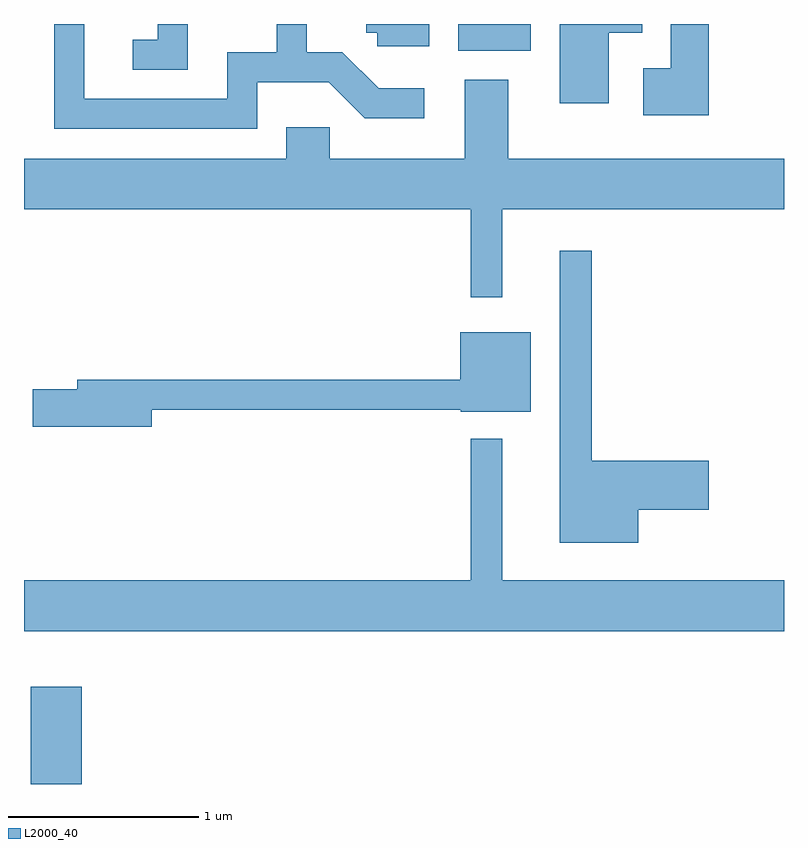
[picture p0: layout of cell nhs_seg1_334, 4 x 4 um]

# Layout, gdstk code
import gdstk
lib = gdstk.Library(unit=1e-6, precision=1e-09)
def R(c, l, rs):  # rectangles x0, y0, x1, y1
    for r in rs: c.add(gdstk.rectangle(r[:2], r[2:], *l))
def P(c, l, *ps):  # polygons
    for p in ps: c.add(gdstk.Polygon(p, *l))
L2000_40 = (2000, 40)

nhs_seg1_334 = lib.new_cell('nhs_seg1_334')
R(nhs_seg1_334, L2000_40, [(195.646,847.712,195.914,848.224), (197.896,851.571,198.279,851.712)])
P(nhs_seg1_334, L2000_40, [(198.689,851.666),(198.864,851.666),(198.864,851.712),(198.431,851.712),(198.431,851.296),(198.689,851.296)],
  [(196.839,851.406),(197.214,851.406),(197.404,851.216),(197.718,851.216),(197.718,851.374),(197.477,851.374),(197.287,851.564),(197.099,851.564),(197.099,851.712),(196.941,851.712),(196.941,851.564),(196.681,851.564),(196.681,851.319),(195.929,851.319),(195.929,851.712),(195.771,851.712),(195.771,851.161),(196.839,851.161)],
  [(196.474,851.712),(196.316,851.712),(196.316,851.629),(196.183,851.629),(196.183,851.471),(196.474,851.471)],
  [(197.744,851.712),(197.411,851.712),(197.411,851.666),(197.471,851.666),(197.471,851.596),(197.744,851.596)],
  [(199.214,851.712),(199.016,851.712),(199.016,851.479),(198.871,851.479),(198.871,851.231),(199.214,851.231)],
  [(198.129,850.736),(199.611,850.736),(199.611,851.004),(198.159,851.004),(198.159,851.419),(197.931,851.419),(197.931,851.004),(197.219,851.004),(197.219,851.169),(196.991,851.169),(196.991,851.004),(195.611,851.004),(195.611,850.736),(197.961,850.736),(197.961,850.273),(198.129,850.273)],
  [(198.844,849.156),(199.214,849.156),(199.214,849.414),(198.599,849.414),(198.599,850.518),(198.431,850.518),(198.431,848.981),(198.844,848.981)],
  [(196.284,849.681),(197.91,849.681),(197.91,849.671),(198.279,849.671),(198.279,850.089),(197.906,850.089),(197.906,849.839),(195.891,849.839),(195.891,849.789),(195.656,849.789),(195.656,849.591),(196.284,849.591)],
  [(199.611,848.784),(198.129,848.784),(198.129,849.528),(197.961,849.528),(197.961,848.784),(195.611,848.784),(195.611,848.516),(199.611,848.516)])

lib.write_gds('nhs_seg1_334.gds')
